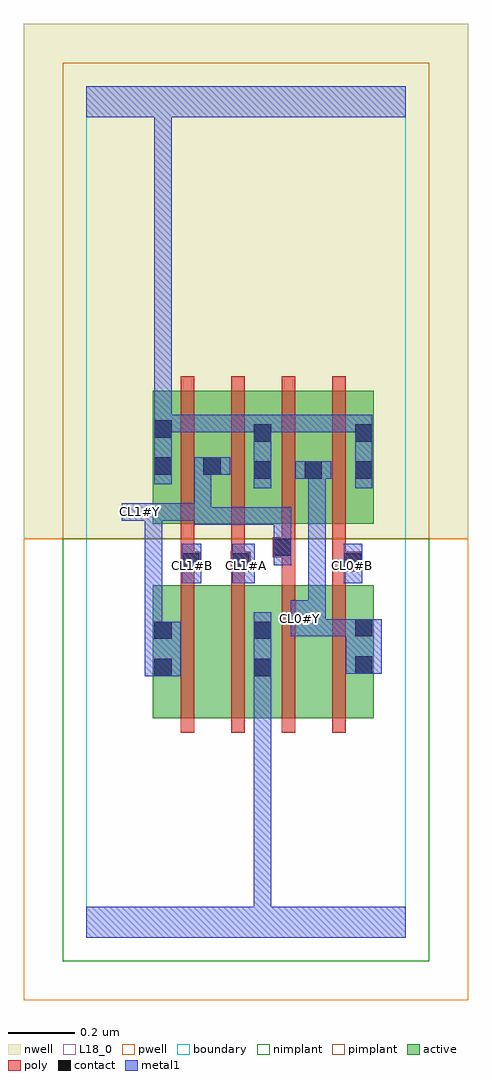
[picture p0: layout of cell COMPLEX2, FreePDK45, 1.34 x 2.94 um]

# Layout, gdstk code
import gdstk
lib = gdstk.Library(unit=1e-6, precision=1e-09)
def R(c, l, rs):  # rectangles x0, y0, x1, y1
    for r in rs: c.add(gdstk.rectangle(r[:2], r[2:], *l))
def A(c, l, x, y, w, h, nx, ny, dx, dy):  # array of equal rectangles
    R(c, l, [(x+i*dx, y+j*dy, x+i*dx+w, y+j*dy+h) for i in range(nx) for j in range(ny)])
active = (1, 0)
pwell = (2, 0)
nwell = (3, 0)
nimplant = (4, 0)
pimplant = (5, 0)
poly = (9, 0)
contact = (10, 0)
metal1 = (11, 0)
L18_0 = (18, 0)
boundary = (235, 0)

complex2 = lib.new_cell('COMPLEX2')
A(complex2, active, 0.348, 1.244, 0.06, 0.4, 4, 1, 0.152, 0)
A(complex2, active, 0.348, 1.244, 0.212, 0.4, 3, 1, 0.152, 0)
R(complex2, active, [(0.2,0.66,0.38,1.06), (0.38,0.66,0.56,1.06), (0.5,0.66,0.684,1.06), (0.684,0.66,0.864,1.06), (0.2,0.756,0.26,1.06), (0.5,0.756,0.56,1.06), (0.804,0.756,0.864,1.06), (0.2,1.244,0.26,1.644), (0.2,1.244,0.408,1.644)])
R(complex2, pwell, [(-0.188,-0.188,1.148,1.2)])
R(complex2, nwell, [(-0.188,1.2,1.148,2.748)])
R(complex2, nimplant, [(-0.072,-0.072,1.032,1.2)])
R(complex2, pimplant, [(-0.072,1.2,1.032,2.632)])
A(complex2, poly, 0.284, 0.616, 0.04, 0.488, 4, 2, 0.152, 0.584)
R(complex2, poly, [(0.284,1.064,0.324,1.14), (0.436,1.064,0.476,1.14), (0.588,1.064,0.628,1.184), (0.74,1.064,0.78,1.14), (0.284,1.1,0.344,1.16), (0.434,1.1,0.494,1.16), (0.74,1.1,0.78,1.14), (0.74,1.1,0.78,1.14), (0.74,1.1,0.83,1.16), (0.284,1.12,0.324,1.24), (0.284,1.12,0.324,1.16), (0.284,1.12,0.324,1.16), (0.436,1.12,0.476,1.24), (0.436,1.12,0.476,1.16), (0.436,1.12,0.476,1.16), (0.74,1.12,0.78,1.24), (0.56,1.144,0.628,1.204), (0.588,1.144,0.628,1.184), (0.588,1.144,0.628,1.184), (0.588,1.164,0.628,1.24)])
A(complex2, contact, 0.504, 1.38, 0.052, 0.052, 3, 1, 0.152, 0)
R(complex2, contact, [(0.204,0.786,0.256,0.838), (0.504,0.786,0.556,0.838), (0.808,0.794,0.86,0.846), (0.204,0.898,0.256,0.95), (0.504,0.898,0.556,0.95), (0.808,0.906,0.86,0.958), (0.288,1.104,0.34,1.156), (0.438,1.104,0.49,1.156), (0.774,1.104,0.826,1.156), (0.564,1.148,0.616,1.2), (0.204,1.392,0.256,1.444), (0.352,1.392,0.404,1.444), (0.504,1.492,0.556,1.544), (0.808,1.492,0.86,1.544), (0.204,1.504,0.256,1.556)])
R(complex2, metal1, [(0,0,0.96,0.092), (0.504,0.04,0.556,0.81), (0.504,0.758,0.556,0.81), (0.504,0.758,0.556,0.81), (0.504,0.758,0.556,0.81), (0.504,0.758,0.556,0.81), (0.504,0.758,0.556,0.81), (0.504,0.758,0.556,0.81), (0.504,0.758,0.556,0.81), (0.504,0.758,0.556,0.81), (0.504,0.758,0.556,0.81), (0.504,0.758,0.556,0.81), (0.504,0.758,0.556,0.81), (0.504,0.758,0.556,0.81), (0.504,0.758,0.556,0.978), (0.176,0.786,0.284,0.95), (0.78,0.794,0.888,0.958), (0.176,0.898,0.228,1.306), (0.614,0.906,0.72,1.014), (0.668,0.906,0.832,0.958), (0.78,0.906,0.832,0.958), (0.78,0.906,0.832,0.958), (0.78,0.906,0.832,0.958), (0.78,0.906,0.832,0.958), (0.668,0.962,0.72,1.432), (0.288,1.066,0.346,1.184), (0.438,1.066,0.506,1.184), (0.774,1.066,0.83,1.184), (0.564,1.12,0.616,1.294), (0.324,1.242,0.376,1.294), (0.324,1.242,0.376,1.294), (0.324,1.242,0.486,1.294), (0.324,1.242,0.376,1.306), (0.434,1.242,0.486,1.294), (0.434,1.242,0.616,1.294), (0.106,1.254,0.228,1.306), (0.176,1.254,0.228,1.306), (0.176,1.254,0.228,1.306), (0.176,1.254,0.228,1.306), (0.176,1.254,0.228,1.306), (0.176,1.254,0.376,1.306), (0.324,1.254,0.376,1.444), (0.504,1.352,0.556,1.572), (0.808,1.352,0.86,1.572), (0.204,1.364,0.256,1.584), (0.628,1.38,0.736,1.432), (0.668,1.38,0.72,1.432), (0.668,1.38,0.72,1.432), (0.324,1.392,0.432,1.444), (0.204,1.52,0.256,1.572), (0.204,1.52,0.256,1.572), (0.204,1.52,0.366,1.572), (0.314,1.52,0.366,1.572), (0.314,1.52,0.366,1.572), (0.314,1.52,0.366,1.572), (0.314,1.52,0.556,1.572), (0.504,1.52,0.666,1.572), (0.614,1.52,0.666,1.572), (0.614,1.52,0.666,1.572), (0.614,1.52,0.666,1.572), (0.614,1.52,0.86,1.572), (0.808,1.52,0.86,1.572), (0.808,1.52,0.86,1.572), (0.204,1.532,0.256,2.52), (0,2.468,0.96,2.56), (0.204,2.468,0.256,2.52), (0.204,2.468,0.256,2.52), (0.204,2.468,0.256,2.52), (0.204,2.468,0.256,2.52), (0.204,2.468,0.256,2.52), (0.204,2.468,0.256,2.52), (0.204,2.468,0.256,2.52), (0.204,2.468,0.256,2.52), (0.204,2.468,0.256,2.52), (0.204,2.468,0.256,2.52), (0.204,2.468,0.256,2.52), (0.204,2.468,0.256,2.52), (0.204,2.468,0.256,2.52), (0.204,2.468,0.256,2.52), (0.204,2.468,0.256,2.52), (0.204,2.468,0.256,2.52)])
R(complex2, L18_0, [(0,0,0.96,0.092), (0.504,0.04,0.556,0.81), (0.504,0.758,0.556,0.81), (0.504,0.758,0.556,0.81), (0.504,0.758,0.556,0.81), (0.504,0.758,0.556,0.81), (0.504,0.758,0.556,0.81), (0.504,0.758,0.556,0.81), (0.504,0.758,0.556,0.81), (0.504,0.758,0.556,0.81), (0.504,0.758,0.556,0.81), (0.504,0.758,0.556,0.81), (0.504,0.758,0.556,0.81), (0.504,0.758,0.556,0.81), (0.504,0.758,0.556,0.978), (0.176,0.786,0.284,0.95), (0.78,0.794,0.888,0.958), (0.176,0.898,0.228,1.306), (0.614,0.906,0.72,1.014), (0.668,0.906,0.832,0.958), (0.78,0.906,0.832,0.958), (0.78,0.906,0.832,0.958), (0.78,0.906,0.832,0.958), (0.78,0.906,0.832,0.958), (0.614,0.934,0.666,0.986), (0.668,0.962,0.72,1.432), (0.288,1.066,0.346,1.184), (0.438,1.066,0.506,1.184), (0.774,1.066,0.83,1.184), (0.294,1.094,0.346,1.146), (0.454,1.094,0.506,1.146), (0.774,1.094,0.826,1.146), (0.564,1.12,0.616,1.294), (0.324,1.242,0.376,1.294), (0.324,1.242,0.376,1.294), (0.324,1.242,0.376,1.306), (0.324,1.242,0.486,1.294), (0.434,1.242,0.486,1.294), (0.434,1.242,0.616,1.294), (0.106,1.254,0.228,1.306), (0.134,1.254,0.186,1.306), (0.176,1.254,0.228,1.306), (0.176,1.254,0.228,1.306), (0.176,1.254,0.228,1.306), (0.176,1.254,0.228,1.306), (0.176,1.254,0.376,1.306), (0.324,1.254,0.376,1.444), (0.504,1.352,0.556,1.572), (0.808,1.352,0.86,1.572), (0.204,1.364,0.256,1.584), (0.628,1.38,0.736,1.432), (0.668,1.38,0.72,1.432), (0.668,1.38,0.72,1.432), (0.324,1.392,0.432,1.444), (0.204,1.52,0.256,1.572), (0.204,1.52,0.256,1.572), (0.204,1.52,0.366,1.572), (0.314,1.52,0.366,1.572), (0.314,1.52,0.366,1.572), (0.314,1.52,0.366,1.572), (0.314,1.52,0.556,1.572), (0.504,1.52,0.666,1.572), (0.614,1.52,0.666,1.572), (0.614,1.52,0.666,1.572), (0.614,1.52,0.666,1.572), (0.614,1.52,0.86,1.572), (0.808,1.52,0.86,1.572), (0.808,1.52,0.86,1.572), (0.204,1.532,0.256,2.52), (0,2.468,0.96,2.56), (0.204,2.468,0.256,2.52), (0.204,2.468,0.256,2.52), (0.204,2.468,0.256,2.52), (0.204,2.468,0.256,2.52), (0.204,2.468,0.256,2.52), (0.204,2.468,0.256,2.52), (0.204,2.468,0.256,2.52), (0.204,2.468,0.256,2.52), (0.204,2.468,0.256,2.52), (0.204,2.468,0.256,2.52), (0.204,2.468,0.256,2.52), (0.204,2.468,0.256,2.52), (0.204,2.468,0.256,2.52), (0.204,2.468,0.256,2.52), (0.204,2.468,0.256,2.52), (0.204,2.468,0.256,2.52)])
R(complex2, boundary, [(0,0,0.96,2.56)])
complex2.add(gdstk.Label('CL0#B', (0.8,1.12), layer=11, texttype=0))
complex2.add(gdstk.Label('CL0#Y', (0.64,0.96), layer=11, texttype=0))
complex2.add(gdstk.Label('CL1#A', (0.48,1.12), layer=11, texttype=0))
complex2.add(gdstk.Label('CL1#B', (0.32,1.12), layer=11, texttype=0))
complex2.add(gdstk.Label('CL1#Y', (0.16,1.28), layer=11, texttype=0))

lib.write_gds('COMPLEX2.gds')
